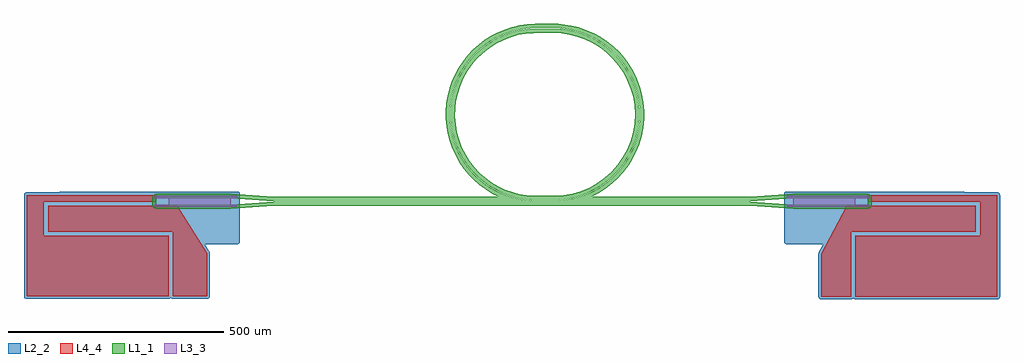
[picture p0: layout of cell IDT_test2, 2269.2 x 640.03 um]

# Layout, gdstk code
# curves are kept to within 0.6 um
import gdstk
lib = gdstk.Library(unit=1e-6, precision=1e-09)
def P(c, l, *ps):  # polygons
    for p in ps: c.add(gdstk.Polygon(p, *l))
L1_1 = (1, 1)
L2_2 = (2, 2)
L3_3 = (3, 3)
L4_4 = (4, 4)

idt_test2 = lib.new_cell('IDT_test2')
P(idt_test2, L1_1, [(-1552.58,-12.702),(-1557.944,-10.48),(-1561.169,-5.653),(-1561.552,13.23),(-1558.671,19.321),(-1555.427,21.489),(-1551.6,22.25),(-1378.8,22.25),(-1278.455,15.35),(-755.809,15.35),(-770.732,22.884),(-786.265,32.422),(-800.915,43.267),(-814.484,55.254),(-825.411,66.594),(-836.96,80.697),(-847.246,95.745),(-856.192,111.627),(-863.731,128.223),(-869.771,145.29),(-874.349,162.934),(-877.062,178.447),(-878.745,196.597),(-878.857,214.701),(-877.399,232.87),(-874.374,250.846),(-869.807,268.492),(-864.645,283.371),(-857.357,299.943),(-848.608,315.934),(-838.509,331.109),(-828.755,343.473),(-816.349,356.828),(-802.834,369.06),(-788.415,380.007),(-773.001,389.737),(-759.049,397.042),(-742.272,404.169),(-725,409.799),(-725,399.398),(-741.137,393.898),(-757.03,386.908),(-770.129,379.842),(-784.698,370.398),(-796.497,361.325),(-809.366,349.67),(-821.179,336.946),(-831.848,323.248),(-841.292,308.679),(-848.358,295.58),(-859.486,267.994),(-864.049,251.242),(-866.795,236.614),(-869,206.95),(-866.795,177.286),(-864.049,162.658),(-859.486,145.906),(-848.358,118.32),(-841.292,105.221),(-831.848,90.652),(-812.853,67.76),(-792.639,49.454),(-776.473,37.951),(-761.454,29.239),(-743.444,20.916),(-725,14.502),(-725,5.35),(-1278.8,5.35),(-1378.8,12.25),(-1551.6,12.25),(-1551.6,-2.75),(-1378.8,-2.75),(-1278.8,4.15),(-725,4.15),(-725,-5.85),(-1278.455,-5.85),(-1378.8,-12.75)],
  [(-707.309,413.924),(-689.266,416.514),(-671.067,417.533),(-618.047,417.295),(-602.48,415.949),(-587.055,413.452),(-569.354,409.103),(-552.095,403.24),(-535.407,395.907),(-519.416,387.158),(-504.241,377.059),(-489.904,365.604),(-474.993,351.236),(-463.091,337.431),(-452.427,322.648),(-443.023,306.889),(-435.076,290.485),(-427.807,271.096),(-422.984,253.39),(-419.738,235.453),(-417.947,214.824),(-418.061,196.473),(-420.106,175.868),(-423.603,157.853),(-429.414,137.979),(-436.124,121.031),(-444.334,104.618),(-453.872,89.085),(-466.29,72.516),(-478.609,58.913),(-491.971,46.515),(-508.385,33.893),(-523.907,24.102),(-540.991,15.35),(-171.545,15.35),(-71.2,22.25),(101.6,22.25),(105.427,21.489),(108.671,19.321),(110.839,16.077),(111.6,12.25),(111.6,-2.75),(110.839,-6.577),(107.156,-11.065),(101.6,-12.75),(-71.2,-12.75),(-171.545,-5.85),(-725,-5.85),(-725,4.15),(-171.2,4.15),(-71.2,-2.75),(101.6,-2.75),(101.6,12.25),(-71.2,12.25),(-171.2,5.35),(-725,5.35),(-725,14.502),(-702.962,9.35),(-678.32,6.595),(-623.438,6.411),(-596.284,8.938),(-576.88,13.079),(-557.981,19.116),(-539.77,26.992),(-520.327,37.951),(-500.303,52.575),(-483.947,67.76),(-467.879,86.645),(-454.263,107.367),(-443.308,129.611),(-435.862,150.651),(-430.8,172.388),(-428.045,197.03),(-428.183,219.348),(-431.242,243.954),(-437.314,267.994),(-446.304,291.102),(-458.077,312.924),(-472.452,333.127),(-489.21,351.403),(-506.118,365.971),(-528.817,381.087),(-551.061,392.042),(-574.487,400.169),(-598.736,405.345),(-623.438,407.489),(-678.32,407.305),(-702.962,404.55),(-725,399.398),(-725,409.799)],
  [(-668.4,7.55),(-688.098,8.525),(-707.603,11.442),(-726.725,16.271),(-747.546,23.93),(-765.239,32.644),(-784.002,44.48),(-799.487,56.695),(-813.689,70.379),(-826.469,85.4),(-837.704,101.61),(-847.282,118.85),(-855.11,136.952),(-861.112,155.739),(-865.608,177.463),(-867.556,197.089),(-867.556,216.811),(-865.608,236.437),(-861.73,255.774),(-855.961,274.634),(-848.358,292.831),(-838.994,310.188),(-827.961,326.536),(-813.689,343.521),(-799.487,357.205),(-784.002,369.42),(-765.239,381.256),(-747.546,389.97),(-729.079,396.893),(-710.018,401.958),(-690.551,405.116),(-673.332,406.289),(-648.419,406.35),(-648.419,396.283),(-675.426,396.219),(-694.089,394.6),(-710.219,391.675),(-728.263,386.641),(-745.721,379.848),(-762.423,371.364),(-778.205,361.272),(-792.913,349.67),(-806.402,336.671),(-818.542,322.404),(-829.213,307.007),(-838.311,290.632),(-845.746,273.438),(-851.447,255.593),(-855.357,237.273),(-857.279,220.993),(-857.742,202.265),(-856.353,183.584),(-853.125,165.131),(-848.091,147.087),(-841.298,129.629),(-832.814,112.927),(-824.068,99.062),(-812.649,84.212),(-799.818,70.563),(-787.532,59.71),(-772.404,48.661),(-756.259,39.161),(-741.421,32.192),(-723.8,25.834),(-707.931,21.722),(-691.766,18.997),(-677.767,17.782),(-648.419,17.659),(-648.419,7.55)],
  [(-648.4,7.55),(-648.419,17.659),(-626.057,17.565),(-605.034,18.997),(-584.299,22.756),(-564.111,28.795),(-544.718,37.039),(-526.361,47.387),(-509.268,59.71),(-493.648,73.855),(-479.697,89.648),(-467.587,106.893),(-457.467,125.376),(-449.464,144.869),(-443.675,165.131),(-440.172,185.91),(-439,206.95),(-440.172,227.99),(-443.675,248.769),(-448.709,266.813),(-456.471,286.404),(-466.362,305.011),(-476.841,320.538),(-490.398,336.671),(-505.662,351.199),(-520.512,362.618),(-538.473,373.639),(-555.379,381.708),(-573,388.066),(-591.163,392.653),(-609.69,395.423),(-648.419,396.283),(-648.419,406.35),(-608.702,405.375),(-589.197,402.458),(-570.075,397.629),(-551.524,390.935),(-533.724,382.44),(-516.852,372.229),(-501.07,360.402),(-486.534,347.072),(-473.385,332.373),(-461.754,316.446),(-451.752,299.448),(-443.479,281.545),(-437.014,262.912),(-432.422,243.732),(-429.975,226.648),(-429,206.95),(-429.975,187.252),(-432.422,170.168),(-437.014,150.988),(-443.479,132.355),(-451.752,114.452),(-461.754,97.454),(-473.385,81.527),(-486.534,66.828),(-501.07,53.498),(-516.852,41.671),(-533.724,31.46),(-551.524,22.965),(-570.075,16.271),(-589.197,11.442),(-606.249,8.784),(-623.468,7.611)])
P(idt_test2, L2_2, [(68.6,-219.815),(66.428,-221.792),(63.6,-222.5),(-6.4,-222.5),(-9.228,-221.792),(-11.389,-219.833),(-12.4,-216.5),(-12.371,-115.906),(-1.329,-94.5),(-86.4,-94.5),(-89.228,-93.792),(-91.389,-91.833),(-92.4,-88.5),(-92.4,21.5),(-91.692,24.328),(-89.733,26.489),(-86.4,27.5),(323.6,27.5),(328.063,25.5),(404.188,25.471),(408.589,22.833),(409.6,19.5),(409.6,-216.5),(408.892,-219.328),(406.933,-221.489),(403.6,-222.5),(73.6,-222.5),(70.772,-221.792)],
  [(-1778.063,25.5),(-1773.6,27.5),(-1361.858,27.242),(-1358.611,24.833),(-1357.6,21.5),(-1357.858,-90.242),(-1359.794,-93.138),(-1363.012,-94.471),(-1439.852,-94.5),(-1427.627,-114.934),(-1427.6,-215.5),(-1428.611,-218.833),(-1431.858,-221.242),(-1513.6,-221.5),(-1516.428,-220.792),(-1518.6,-218.815),(-1520.772,-220.792),(-1523.6,-221.5),(-1855.342,-221.242),(-1858.589,-218.833),(-1859.6,-215.5),(-1859.342,21.242),(-1857.406,24.138),(-1854.188,25.471)])
P(idt_test2, L3_3, [(-1498.6,-3),(-1498.6,11.75),(-1498.155,11.75),(-1498.155,-3),(-1496.8,-3),(-1496.8,11.75),(-1496.355,11.75),(-1496.355,-3),(-1495,-3),(-1495,11.75),(-1494.555,11.75),(-1494.555,-3),(-1493.2,-3),(-1493.2,11.75),(-1492.755,11.75),(-1492.755,-3),(-1491.4,-3),(-1491.4,11.75),(-1490.955,11.75),(-1490.955,-3),(-1489.6,-3),(-1489.6,11.75),(-1489.155,11.75),(-1489.155,-3),(-1487.8,-3),(-1487.8,11.75),(-1487.355,11.75),(-1487.355,-3),(-1486,-3),(-1486,11.75),(-1485.555,11.75),(-1485.555,-3),(-1484.2,-3),(-1484.2,11.75),(-1483.755,11.75),(-1483.755,-3),(-1482.4,-3),(-1482.4,11.75),(-1481.955,11.75),(-1481.955,-3),(-1480.6,-3),(-1480.6,11.75),(-1480.155,11.75),(-1480.155,-3),(-1478.8,-3),(-1478.8,11.75),(-1478.355,11.75),(-1478.355,-3),(-1477,-3),(-1477,11.75),(-1476.555,11.75),(-1476.555,-3),(-1475.2,-3),(-1475.2,11.75),(-1474.755,11.75),(-1474.755,-3),(-1473.4,-3),(-1473.4,11.75),(-1472.955,11.75),(-1472.955,-3),(-1471.6,-3),(-1471.6,11.75),(-1471.155,11.75),(-1471.155,-3),(-1469.8,-3),(-1469.8,11.75),(-1469.355,11.75),(-1469.355,-3),(-1468,-3),(-1468,11.75),(-1467.555,11.75),(-1467.555,-3),(-1466.2,-3),(-1466.2,11.75),(-1465.755,11.75),(-1465.755,-3),(-1464.4,-3),(-1464.4,11.75),(-1463.955,11.75),(-1463.955,-3),(-1462.6,-3),(-1462.6,11.75),(-1462.155,11.75),(-1462.155,-3),(-1460.8,-3),(-1460.8,11.75),(-1460.355,11.75),(-1460.355,-3),(-1459,-3),(-1459,11.75),(-1458.555,11.75),(-1458.555,-3),(-1457.2,-3),(-1457.2,11.75),(-1456.755,11.75),(-1456.755,-3),(-1455.4,-3),(-1455.4,11.75),(-1454.955,11.75),(-1454.955,-3),(-1453.6,-3),(-1453.6,11.75),(-1453.155,11.75),(-1453.155,-3),(-1451.8,-3),(-1451.8,11.75),(-1451.355,11.75),(-1451.355,-3),(-1450,-3),(-1450,11.75),(-1449.555,11.75),(-1449.555,-3),(-1448.2,-3),(-1448.2,11.75),(-1447.755,11.75),(-1447.755,-3),(-1446.4,-3),(-1446.4,11.75),(-1445.955,11.75),(-1445.955,-3),(-1444.6,-3),(-1444.6,11.75),(-1444.155,11.75),(-1444.155,-3),(-1442.8,-3),(-1442.8,11.75),(-1442.355,11.75),(-1442.355,-3),(-1441,-3),(-1441,11.75),(-1440.555,11.75),(-1440.555,-3),(-1439.2,-3),(-1439.2,11.75),(-1438.755,11.75),(-1438.755,-3),(-1437.4,-3),(-1437.4,11.75),(-1436.955,11.75),(-1436.955,-3),(-1435.6,-3),(-1435.6,11.75),(-1435.155,11.75),(-1435.155,-3),(-1433.8,-3),(-1433.8,11.75),(-1433.355,11.75),(-1433.355,-3),(-1432,-3),(-1432,11.75),(-1431.555,11.75),(-1431.555,-3),(-1430.2,-3),(-1430.2,11.75),(-1429.755,11.75),(-1429.755,-3),(-1428.4,-3),(-1428.4,11.75),(-1427.955,11.75),(-1427.955,-3),(-1426.6,-3),(-1426.6,11.75),(-1426.155,11.75),(-1426.155,-3),(-1424.8,-3),(-1424.8,11.75),(-1424.355,11.75),(-1424.355,-3),(-1423,-3),(-1423,11.75),(-1422.555,11.75),(-1422.555,-3),(-1421.2,-3),(-1421.2,11.75),(-1420.755,11.75),(-1420.755,-3),(-1419.4,-3),(-1419.4,11.75),(-1418.955,11.75),(-1418.955,-3),(-1417.6,-3),(-1417.6,11.75),(-1417.155,11.75),(-1417.155,-3),(-1415.8,-3),(-1415.8,11.75),(-1415.355,11.75),(-1415.355,-3),(-1414,-3),(-1414,11.75),(-1413.555,11.75),(-1413.555,-3),(-1412.2,-3),(-1412.2,11.75),(-1411.755,11.75),(-1411.755,-3),(-1410.4,-3),(-1410.4,11.75),(-1409.955,11.75),(-1409.955,-3),(-1408.6,-3),(-1408.6,11.75),(-1408.155,11.75),(-1408.155,-3),(-1406.8,-3),(-1406.8,11.75),(-1406.355,11.75),(-1406.355,-3),(-1405,-3),(-1405,11.75),(-1404.555,11.75),(-1404.555,-3),(-1403.2,-3),(-1403.2,11.75),(-1402.755,11.75),(-1402.755,-3),(-1401.4,-3),(-1401.4,11.75),(-1400.955,11.75),(-1400.955,-3),(-1399.6,-3),(-1399.6,11.75),(-1399.155,11.75),(-1399.155,-3),(-1397.8,-3),(-1397.8,11.75),(-1397.355,11.75),(-1397.355,-3),(-1396,-3),(-1396,11.75),(-1395.555,11.75),(-1395.555,-3),(-1394.2,-3),(-1394.2,11.75),(-1393.755,11.75),(-1393.755,-3),(-1392.4,-3),(-1392.4,11.75),(-1391.955,11.75),(-1391.955,-3),(-1390.6,-3),(-1390.6,11.75),(-1390.155,11.75),(-1390.155,-3),(-1388.8,-3),(-1388.8,11.75),(-1388.355,11.75),(-1388.355,-3),(-1387,-3),(-1387,11.75),(-1386.555,11.75),(-1386.555,-3),(-1385.2,-3),(-1385.2,11.75),(-1384.755,11.75),(-1384.755,-3),(-1383.4,-3),(-1383.4,11.75),(-1382.955,11.75),(-1382.955,-3),(-1381.6,-3),(-1381.6,11.75),(-1381.155,11.75),(-1381.155,-3),(-1379.8,-3),(-1379.8,11.75),(-1379.355,11.75),(-1379.355,-3),(-1363.6,-3),(-1363.6,-8),(-1555.6,-8),(-1555.6,-3),(-1522,-3),(-1522,11.75),(-1521.555,11.75),(-1521.555,-3),(-1520.2,-3),(-1520.2,11.75),(-1519.755,11.75),(-1519.755,-3),(-1518.4,-3),(-1518.4,11.75),(-1517.955,11.75),(-1517.955,-3),(-1516.6,-3),(-1516.6,11.75),(-1516.155,11.75),(-1516.155,-3),(-1514.8,-3),(-1514.8,11.75),(-1514.355,11.75),(-1514.355,-3),(-1513,-3),(-1513,11.75),(-1512.555,11.75),(-1512.555,-3),(-1511.2,-3),(-1511.2,11.75),(-1510.755,11.75),(-1510.755,-3),(-1509.4,-3),(-1509.4,11.75),(-1508.955,11.75),(-1508.955,-3),(-1507.6,-3),(-1507.6,11.75),(-1507.155,11.75),(-1507.155,-3),(-1505.8,-3),(-1505.8,11.75),(-1505.355,11.75),(-1505.355,-3),(-1504,-3),(-1504,11.75),(-1503.555,11.75),(-1503.555,-3),(-1502.2,-3),(-1502.2,11.75),(-1501.755,11.75),(-1501.755,-3),(-1500.4,-3),(-1500.4,11.75),(-1499.955,11.75),(-1499.955,-3),(-1498.6,-3)],
  [(-68.845,11.75),(-68.4,11.75),(-68.4,-3),(-67.045,-3),(-67.045,11.75),(-66.6,11.75),(-66.6,-3),(-65.245,-3),(-65.245,11.75),(-64.8,11.75),(-64.8,-3),(-63.445,-3),(-63.445,11.75),(-63,11.75),(-63,-3),(-61.645,-3),(-61.645,11.75),(-61.2,11.75),(-61.2,-3),(-59.845,-3),(-59.845,11.75),(-59.4,11.75),(-59.4,-3),(-58.045,-3),(-58.045,11.75),(-57.6,11.75),(-57.6,-3),(-56.245,-3),(-56.245,11.75),(-55.8,11.75),(-55.8,-3),(-54.445,-3),(-54.445,11.75),(-54,11.75),(-54,-3),(-52.645,-3),(-52.645,11.75),(-52.2,11.75),(-52.2,-3),(-50.845,-3),(-50.845,11.75),(-50.4,11.75),(-50.4,-3),(-49.045,-3),(-49.045,11.75),(-48.6,11.75),(-48.6,-3),(-47.245,-3),(-47.245,11.75),(-46.8,11.75),(-46.8,-3),(-45.445,-3),(-45.445,11.75),(-45,11.75),(-45,-3),(-43.645,-3),(-43.645,11.75),(-43.2,11.75),(-43.2,-3),(-41.845,-3),(-41.845,11.75),(-41.4,11.75),(-41.4,-3),(-40.045,-3),(-40.045,11.75),(-39.6,11.75),(-39.6,-3),(-38.245,-3),(-38.245,11.75),(-37.8,11.75),(-37.8,-3),(-36.445,-3),(-36.445,11.75),(-36,11.75),(-36,-3),(-34.645,-3),(-34.645,11.75),(-34.2,11.75),(-34.2,-3),(-32.845,-3),(-32.845,11.75),(-32.4,11.75),(-32.4,-3),(-31.045,-3),(-31.045,11.75),(-30.6,11.75),(-30.6,-3),(-29.245,-3),(-29.245,11.75),(-28.8,11.75),(-28.8,-3),(-27.445,-3),(-27.445,11.75),(-27,11.75),(-27,-3),(-25.645,-3),(-25.645,11.75),(-25.2,11.75),(-25.2,-3),(-23.845,-3),(-23.845,11.75),(-23.4,11.75),(-23.4,-3),(-22.045,-3),(-22.045,11.75),(-21.6,11.75),(-21.6,-3),(-20.245,-3),(-20.245,11.75),(-19.8,11.75),(-19.8,-3),(-18.445,-3),(-18.445,11.75),(-18,11.75),(-18,-3),(-16.645,-3),(-16.645,11.75),(-16.2,11.75),(-16.2,-3),(-14.845,-3),(-14.845,11.75),(-14.4,11.75),(-14.4,-3),(-13.045,-3),(-13.045,11.75),(-12.6,11.75),(-12.6,-3),(-11.245,-3),(-11.245,11.75),(-10.8,11.75),(-10.8,-3),(-9.445,-3),(-9.445,11.75),(-9,11.75),(-9,-3),(-7.645,-3),(-7.645,11.75),(-7.2,11.75),(-7.2,-3),(-5.845,-3),(-5.845,11.75),(-5.4,11.75),(-5.4,-3),(-4.045,-3),(-4.045,11.75),(-3.6,11.75),(-3.6,-3),(-2.245,-3),(-2.245,11.75),(-1.8,11.75),(-1.8,-3),(-0.445,-3),(-0.445,11.75),(0,11.75),(0,-3),(1.355,-3),(1.355,11.75),(1.8,11.75),(1.8,-3),(3.155,-3),(3.155,11.75),(3.6,11.75),(3.6,-3),(4.955,-3),(4.955,11.75),(5.4,11.75),(5.4,-3),(6.755,-3),(6.755,11.75),(7.2,11.75),(7.2,-3),(8.555,-3),(8.555,11.75),(9,11.75),(9,-3),(10.355,-3),(10.355,11.75),(10.8,11.75),(10.8,-3),(12.155,-3),(12.155,11.75),(12.6,11.75),(12.6,-3),(13.955,-3),(13.955,11.75),(14.4,11.75),(14.4,-3),(15.755,-3),(15.755,11.75),(16.2,11.75),(16.2,-3),(17.555,-3),(17.555,11.75),(18,11.75),(18,-3),(19.355,-3),(19.355,11.75),(19.8,11.75),(19.8,-3),(21.155,-3),(21.155,11.75),(21.6,11.75),(21.6,-3),(22.955,-3),(22.955,11.75),(23.4,11.75),(23.4,-3),(24.755,-3),(24.755,11.75),(25.2,11.75),(25.2,-3),(26.555,-3),(26.555,11.75),(27,11.75),(27,-3),(28.355,-3),(28.355,11.75),(28.8,11.75),(28.8,-3),(30.155,-3),(30.155,11.75),(30.6,11.75),(30.6,-3),(31.955,-3),(31.955,11.75),(32.4,11.75),(32.4,-3),(33.755,-3),(33.755,11.75),(34.2,11.75),(34.2,-3),(35.555,-3),(35.555,11.75),(36,11.75),(36,-3),(37.355,-3),(37.355,11.75),(37.8,11.75),(37.8,-3),(39.155,-3),(39.155,11.75),(39.6,11.75),(39.6,-3),(40.955,-3),(40.955,11.75),(41.4,11.75),(41.4,-3),(42.755,-3),(42.755,11.75),(43.2,11.75),(43.2,-3),(44.555,-3),(44.555,11.75),(45,11.75),(45,-3),(46.355,-3),(46.355,11.75),(46.8,11.75),(46.8,-3),(48.155,-3),(48.155,11.75),(48.6,11.75),(48.6,-3),(49.955,-3),(49.955,11.75),(50.4,11.75),(50.4,-3),(51.755,-3),(51.755,11.75),(52.2,11.75),(52.2,-3),(53.555,-3),(53.555,11.75),(54,11.75),(54,-3),(55.355,-3),(55.355,11.75),(55.8,11.75),(55.8,-3),(57.155,-3),(57.155,11.75),(57.6,11.75),(57.6,-3),(58.955,-3),(58.955,11.75),(59.4,11.75),(59.4,-3),(60.755,-3),(60.755,11.75),(61.2,11.75),(61.2,-3),(62.555,-3),(62.555,11.75),(63,11.75),(63,-3),(64.355,-3),(64.355,11.75),(64.8,11.75),(64.8,-3),(66.155,-3),(66.155,11.75),(66.6,11.75),(66.6,-3),(67.955,-3),(67.955,11.75),(68.4,11.75),(68.4,-3),(69.755,-3),(69.755,11.75),(70.2,11.75),(70.2,-3),(71.555,-3),(71.555,11.75),(72,11.75),(72,-3),(105.6,-3),(105.6,-8),(-86.4,-8),(-86.4,-3),(-70.645,-3),(-70.645,11.75),(-70.2,11.75),(-70.2,-3),(-68.845,-3),(-68.845,11.75)],
  [(-1495.455,-2.25),(-1495.9,-2.25),(-1495.9,12.5),(-1497.255,12.5),(-1497.255,-2.25),(-1497.7,-2.25),(-1497.7,12.5),(-1499.055,12.5),(-1499.055,-2.25),(-1499.5,-2.25),(-1499.5,12.5),(-1500.855,12.5),(-1500.855,-2.25),(-1501.3,-2.25),(-1501.3,12.5),(-1502.655,12.5),(-1502.655,-2.25),(-1503.1,-2.25),(-1503.1,12.5),(-1504.455,12.5),(-1504.455,-2.25),(-1504.9,-2.25),(-1504.9,12.5),(-1506.255,12.5),(-1506.255,-2.25),(-1506.7,-2.25),(-1506.7,12.5),(-1508.055,12.5),(-1508.055,-2.25),(-1508.5,-2.25),(-1508.5,12.5),(-1509.855,12.5),(-1509.855,-2.25),(-1510.3,-2.25),(-1510.3,12.5),(-1511.655,12.5),(-1511.655,-2.25),(-1512.1,-2.25),(-1512.1,12.5),(-1513.455,12.5),(-1513.455,-2.25),(-1513.9,-2.25),(-1513.9,12.5),(-1515.255,12.5),(-1515.255,-2.25),(-1515.7,-2.25),(-1515.7,12.5),(-1517.055,12.5),(-1517.055,-2.25),(-1517.5,-2.25),(-1517.5,12.5),(-1518.855,12.5),(-1518.855,-2.25),(-1519.3,-2.25),(-1519.3,12.5),(-1520.655,12.5),(-1520.655,-2.25),(-1521.1,-2.25),(-1521.1,12.5),(-1522.455,12.5),(-1522.455,-2.25),(-1522.9,-2.25),(-1522.9,12.5),(-1555.6,12.5),(-1555.6,17.5),(-1363.6,17.5),(-1363.6,12.5),(-1380.255,12.5),(-1380.255,-2.25),(-1380.7,-2.25),(-1380.7,12.5),(-1382.055,12.5),(-1382.055,-2.25),(-1382.5,-2.25),(-1382.5,12.5),(-1383.855,12.5),(-1383.855,-2.25),(-1384.3,-2.25),(-1384.3,12.5),(-1385.655,12.5),(-1385.655,-2.25),(-1386.1,-2.25),(-1386.1,12.5),(-1387.455,12.5),(-1387.455,-2.25),(-1387.9,-2.25),(-1387.9,12.5),(-1389.255,12.5),(-1389.255,-2.25),(-1389.7,-2.25),(-1389.7,12.5),(-1391.055,12.5),(-1391.055,-2.25),(-1391.5,-2.25),(-1391.5,12.5),(-1392.855,12.5),(-1392.855,-2.25),(-1393.3,-2.25),(-1393.3,12.5),(-1394.655,12.5),(-1394.655,-2.25),(-1395.1,-2.25),(-1395.1,12.5),(-1396.455,12.5),(-1396.455,-2.25),(-1396.9,-2.25),(-1396.9,12.5),(-1398.255,12.5),(-1398.255,-2.25),(-1398.7,-2.25),(-1398.7,12.5),(-1400.055,12.5),(-1400.055,-2.25),(-1400.5,-2.25),(-1400.5,12.5),(-1401.855,12.5),(-1401.855,-2.25),(-1402.3,-2.25),(-1402.3,12.5),(-1403.655,12.5),(-1403.655,-2.25),(-1404.1,-2.25),(-1404.1,12.5),(-1405.455,12.5),(-1405.455,-2.25),(-1405.9,-2.25),(-1405.9,12.5),(-1407.255,12.5),(-1407.255,-2.25),(-1407.7,-2.25),(-1407.7,12.5),(-1409.055,12.5),(-1409.055,-2.25),(-1409.5,-2.25),(-1409.5,12.5),(-1410.855,12.5),(-1410.855,-2.25),(-1411.3,-2.25),(-1411.3,12.5),(-1412.655,12.5),(-1412.655,-2.25),(-1413.1,-2.25),(-1413.1,12.5),(-1414.455,12.5),(-1414.455,-2.25),(-1414.9,-2.25),(-1414.9,12.5),(-1416.255,12.5),(-1416.255,-2.25),(-1416.7,-2.25),(-1416.7,12.5),(-1418.055,12.5),(-1418.055,-2.25),(-1418.5,-2.25),(-1418.5,12.5),(-1419.855,12.5),(-1419.855,-2.25),(-1420.3,-2.25),(-1420.3,12.5),(-1421.655,12.5),(-1421.655,-2.25),(-1422.1,-2.25),(-1422.1,12.5),(-1423.455,12.5),(-1423.455,-2.25),(-1423.9,-2.25),(-1423.9,12.5),(-1425.255,12.5),(-1425.255,-2.25),(-1425.7,-2.25),(-1425.7,12.5),(-1427.055,12.5),(-1427.055,-2.25),(-1427.5,-2.25),(-1427.5,12.5),(-1428.855,12.5),(-1428.855,-2.25),(-1429.3,-2.25),(-1429.3,12.5),(-1430.655,12.5),(-1430.655,-2.25),(-1431.1,-2.25),(-1431.1,12.5),(-1432.455,12.5),(-1432.455,-2.25),(-1432.9,-2.25),(-1432.9,12.5),(-1434.255,12.5),(-1434.255,-2.25),(-1434.7,-2.25),(-1434.7,12.5),(-1436.055,12.5),(-1436.055,-2.25),(-1436.5,-2.25),(-1436.5,12.5),(-1437.855,12.5),(-1437.855,-2.25),(-1438.3,-2.25),(-1438.3,12.5),(-1439.655,12.5),(-1439.655,-2.25),(-1440.1,-2.25),(-1440.1,12.5),(-1441.455,12.5),(-1441.455,-2.25),(-1441.9,-2.25),(-1441.9,12.5),(-1443.255,12.5),(-1443.255,-2.25),(-1443.7,-2.25),(-1443.7,12.5),(-1445.055,12.5),(-1445.055,-2.25),(-1445.5,-2.25),(-1445.5,12.5),(-1446.855,12.5),(-1446.855,-2.25),(-1447.3,-2.25),(-1447.3,12.5),(-1448.655,12.5),(-1448.655,-2.25),(-1449.1,-2.25),(-1449.1,12.5),(-1450.455,12.5),(-1450.455,-2.25),(-1450.9,-2.25),(-1450.9,12.5),(-1452.255,12.5),(-1452.255,-2.25),(-1452.7,-2.25),(-1452.7,12.5),(-1454.055,12.5),(-1454.055,-2.25),(-1454.5,-2.25),(-1454.5,12.5),(-1455.855,12.5),(-1455.855,-2.25),(-1456.3,-2.25),(-1456.3,12.5),(-1457.655,12.5),(-1457.655,-2.25),(-1458.1,-2.25),(-1458.1,12.5),(-1459.455,12.5),(-1459.455,-2.25),(-1459.9,-2.25),(-1459.9,12.5),(-1461.255,12.5),(-1461.255,-2.25),(-1461.7,-2.25),(-1461.7,12.5),(-1463.055,12.5),(-1463.055,-2.25),(-1463.5,-2.25),(-1463.5,12.5),(-1464.855,12.5),(-1464.855,-2.25),(-1465.3,-2.25),(-1465.3,12.5),(-1466.655,12.5),(-1466.655,-2.25),(-1467.1,-2.25),(-1467.1,12.5),(-1468.455,12.5),(-1468.455,-2.25),(-1468.9,-2.25),(-1468.9,12.5),(-1470.255,12.5),(-1470.255,-2.25),(-1470.7,-2.25),(-1470.7,12.5),(-1472.055,12.5),(-1472.055,-2.25),(-1472.5,-2.25),(-1472.5,12.5),(-1473.855,12.5),(-1473.855,-2.25),(-1474.3,-2.25),(-1474.3,12.5),(-1475.655,12.5),(-1475.655,-2.25),(-1476.1,-2.25),(-1476.1,12.5),(-1477.455,12.5),(-1477.455,-2.25),(-1477.9,-2.25),(-1477.9,12.5),(-1479.255,12.5),(-1479.255,-2.25),(-1479.7,-2.25),(-1479.7,12.5),(-1481.055,12.5),(-1481.055,-2.25),(-1481.5,-2.25),(-1481.5,12.5),(-1482.855,12.5),(-1482.855,-2.25),(-1483.3,-2.25),(-1483.3,12.5),(-1484.655,12.5),(-1484.655,-2.25),(-1485.1,-2.25),(-1485.1,12.5),(-1486.455,12.5),(-1486.455,-2.25),(-1486.9,-2.25),(-1486.9,12.5),(-1488.255,12.5),(-1488.255,-2.25),(-1488.7,-2.25),(-1488.7,12.5),(-1490.055,12.5),(-1490.055,-2.25),(-1490.5,-2.25),(-1490.5,12.5),(-1491.855,12.5),(-1491.855,-2.25),(-1492.3,-2.25),(-1492.3,12.5),(-1493.655,12.5),(-1493.655,-2.25),(-1494.1,-2.25),(-1494.1,12.5),(-1495.455,12.5),(-1495.455,-2.25)],
  [(-56.7,12.5),(-56.7,-2.25),(-57.145,-2.25),(-57.145,12.5),(-58.5,12.5),(-58.5,-2.25),(-58.945,-2.25),(-58.945,12.5),(-60.3,12.5),(-60.3,-2.25),(-60.745,-2.25),(-60.745,12.5),(-62.1,12.5),(-62.1,-2.25),(-62.545,-2.25),(-62.545,12.5),(-63.9,12.5),(-63.9,-2.25),(-64.345,-2.25),(-64.345,12.5),(-65.7,12.5),(-65.7,-2.25),(-66.145,-2.25),(-66.145,12.5),(-67.5,12.5),(-67.5,-2.25),(-67.945,-2.25),(-67.945,12.5),(-69.3,12.5),(-69.3,-2.25),(-69.745,-2.25),(-69.745,12.5),(-86.4,12.5),(-86.4,17.5),(105.6,17.5),(105.6,12.5),(72.9,12.5),(72.9,-2.25),(72.455,-2.25),(72.455,12.5),(71.1,12.5),(71.1,-2.25),(70.655,-2.25),(70.655,12.5),(69.3,12.5),(69.3,-2.25),(68.855,-2.25),(68.855,12.5),(67.5,12.5),(67.5,-2.25),(67.055,-2.25),(67.055,12.5),(65.7,12.5),(65.7,-2.25),(65.255,-2.25),(65.255,12.5),(63.9,12.5),(63.9,-2.25),(63.455,-2.25),(63.455,12.5),(62.1,12.5),(62.1,-2.25),(61.655,-2.25),(61.655,12.5),(60.3,12.5),(60.3,-2.25),(59.855,-2.25),(59.855,12.5),(58.5,12.5),(58.5,-2.25),(58.055,-2.25),(58.055,12.5),(56.7,12.5),(56.7,-2.25),(56.255,-2.25),(56.255,12.5),(54.9,12.5),(54.9,-2.25),(54.455,-2.25),(54.455,12.5),(53.1,12.5),(53.1,-2.25),(52.655,-2.25),(52.655,12.5),(51.3,12.5),(51.3,-2.25),(50.855,-2.25),(50.855,12.5),(49.5,12.5),(49.5,-2.25),(49.055,-2.25),(49.055,12.5),(47.7,12.5),(47.7,-2.25),(47.255,-2.25),(47.255,12.5),(45.9,12.5),(45.9,-2.25),(45.455,-2.25),(45.455,12.5),(44.1,12.5),(44.1,-2.25),(43.655,-2.25),(43.655,12.5),(42.3,12.5),(42.3,-2.25),(41.855,-2.25),(41.855,12.5),(40.5,12.5),(40.5,-2.25),(40.055,-2.25),(40.055,12.5),(38.7,12.5),(38.7,-2.25),(38.255,-2.25),(38.255,12.5),(36.9,12.5),(36.9,-2.25),(36.455,-2.25),(36.455,12.5),(35.1,12.5),(35.1,-2.25),(34.655,-2.25),(34.655,12.5),(33.3,12.5),(33.3,-2.25),(32.855,-2.25),(32.855,12.5),(31.5,12.5),(31.5,-2.25),(31.055,-2.25),(31.055,12.5),(29.7,12.5),(29.7,-2.25),(29.255,-2.25),(29.255,12.5),(27.9,12.5),(27.9,-2.25),(27.455,-2.25),(27.455,12.5),(26.1,12.5),(26.1,-2.25),(25.655,-2.25),(25.655,12.5),(24.3,12.5),(24.3,-2.25),(23.855,-2.25),(23.855,12.5),(22.5,12.5),(22.5,-2.25),(22.055,-2.25),(22.055,12.5),(20.7,12.5),(20.7,-2.25),(20.255,-2.25),(20.255,12.5),(18.9,12.5),(18.9,-2.25),(18.455,-2.25),(18.455,12.5),(17.1,12.5),(17.1,-2.25),(16.655,-2.25),(16.655,12.5),(15.3,12.5),(15.3,-2.25),(14.855,-2.25),(14.855,12.5),(13.5,12.5),(13.5,-2.25),(13.055,-2.25),(13.055,12.5),(11.7,12.5),(11.7,-2.25),(11.255,-2.25),(11.255,12.5),(9.9,12.5),(9.9,-2.25),(9.455,-2.25),(9.455,12.5),(8.1,12.5),(8.1,-2.25),(7.655,-2.25),(7.655,12.5),(6.3,12.5),(6.3,-2.25),(5.855,-2.25),(5.855,12.5),(4.5,12.5),(4.5,-2.25),(4.055,-2.25),(4.055,12.5),(2.7,12.5),(2.7,-2.25),(2.255,-2.25),(2.255,12.5),(0.9,12.5),(0.9,-2.25),(0.455,-2.25),(0.455,12.5),(-0.9,12.5),(-0.9,-2.25),(-1.345,-2.25),(-1.345,12.5),(-2.7,12.5),(-2.7,-2.25),(-3.145,-2.25),(-3.145,12.5),(-4.5,12.5),(-4.5,-2.25),(-4.945,-2.25),(-4.945,12.5),(-6.3,12.5),(-6.3,-2.25),(-6.745,-2.25),(-6.745,12.5),(-8.1,12.5),(-8.1,-2.25),(-8.545,-2.25),(-8.545,12.5),(-9.9,12.5),(-9.9,-2.25),(-10.345,-2.25),(-10.345,12.5),(-11.7,12.5),(-11.7,-2.25),(-12.145,-2.25),(-12.145,12.5),(-13.5,12.5),(-13.5,-2.25),(-13.945,-2.25),(-13.945,12.5),(-15.3,12.5),(-15.3,-2.25),(-15.745,-2.25),(-15.745,12.5),(-17.1,12.5),(-17.1,-2.25),(-17.545,-2.25),(-17.545,12.5),(-18.9,12.5),(-18.9,-2.25),(-19.345,-2.25),(-19.345,12.5),(-20.7,12.5),(-20.7,-2.25),(-21.145,-2.25),(-21.145,12.5),(-22.5,12.5),(-22.5,-2.25),(-22.945,-2.25),(-22.945,12.5),(-24.3,12.5),(-24.3,-2.25),(-24.745,-2.25),(-24.745,12.5),(-26.1,12.5),(-26.1,-2.25),(-26.545,-2.25),(-26.545,12.5),(-27.9,12.5),(-27.9,-2.25),(-28.345,-2.25),(-28.345,12.5),(-29.7,12.5),(-29.7,-2.25),(-30.145,-2.25),(-30.145,12.5),(-31.5,12.5),(-31.5,-2.25),(-31.945,-2.25),(-31.945,12.5),(-33.3,12.5),(-33.3,-2.25),(-33.745,-2.25),(-33.745,12.5),(-35.1,12.5),(-35.1,-2.25),(-35.545,-2.25),(-35.545,12.5),(-36.9,12.5),(-36.9,-2.25),(-37.345,-2.25),(-37.345,12.5),(-38.7,12.5),(-38.7,-2.25),(-39.145,-2.25),(-39.145,12.5),(-40.5,12.5),(-40.5,-2.25),(-40.945,-2.25),(-40.945,12.5),(-42.3,12.5),(-42.3,-2.25),(-42.745,-2.25),(-42.745,12.5),(-44.1,12.5),(-44.1,-2.25),(-44.545,-2.25),(-44.545,12.5),(-45.9,12.5),(-45.9,-2.25),(-46.345,-2.25),(-46.345,12.5),(-47.7,12.5),(-47.7,-2.25),(-48.145,-2.25),(-48.145,12.5),(-49.5,12.5),(-49.5,-2.25),(-49.945,-2.25),(-49.945,12.5),(-51.3,12.5),(-51.3,-2.25),(-51.745,-2.25),(-51.745,12.5),(-53.1,12.5),(-53.1,-2.25),(-53.545,-2.25),(-53.545,12.5),(-54.9,12.5),(-54.9,-2.25),(-55.345,-2.25),(-55.345,12.5),(-56.7,12.5)])
P(idt_test2, L4_4, [(63.6,-65.5),(63.6,-216.5),(-6.4,-216.5),(-6.4,-116.5),(53.6,-5.5),(353.6,-5.5),(353.6,-65.5),(63.6,-65.5)],
  [(-1513.6,-215.5),(-1513.6,-65.5),(-1803.6,-65.5),(-1803.6,-5.5),(-1503.6,-5.5),(-1433.6,-115.5),(-1433.6,-215.5),(-1513.6,-215.5)],
  [(73.6,-216.5),(73.6,-75.5),(363.6,-75.5),(363.6,4.5),(101.6,4.5),(101.6,19.5),(403.6,19.5),(403.6,-216.5),(73.6,-216.5)],
  [(-1813.6,-75.5),(-1523.6,-75.5),(-1523.6,-215.5),(-1853.6,-215.5),(-1853.6,19.5),(-1551.6,19.5),(-1551.6,4.5),(-1813.6,4.5),(-1813.6,-75.5)])

lib.write_gds('IDT_test2.gds')
